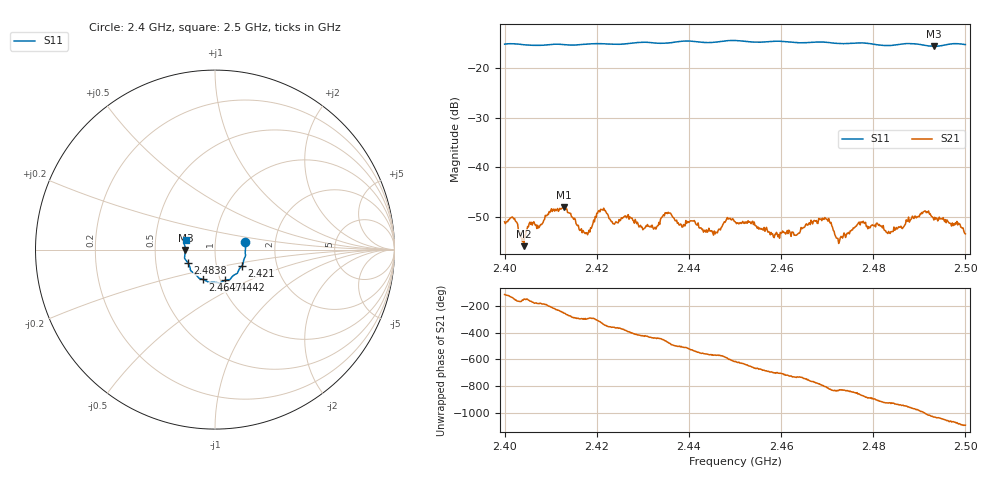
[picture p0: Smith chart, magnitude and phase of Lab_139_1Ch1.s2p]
# Hz S RI R 50
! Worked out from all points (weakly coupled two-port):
!   601 points, 2.4 GHz to 2.5 GHz, reference 50 ohm
!   highest |S21| = -47.95 dB at 2.4128 GHz (marker M1); lowest = -55.9 dB at 2.4042 GHz (marker M2)
!   lowest |S11| = -15.7 dB at 2.4932 GHz (marker M3), VSWR 1.40, Z = 35.8 - j0.117 ohm
!   |S11| at or under -10 dB: start of sweep to end of sweep
!   S12 and S22 are empty: the file has one direction only
!   S11 on the Smith chart (normalised r, x): 2.4 GHz: 1.40, +0.12; 2.421 GHz: 1.33, -0.24; 2.4442 GHz: 1.05, -0.37; 2.4647 GHz: 0.83, -0.28; 2.4838 GHz: 0.73, -0.11; 2.5 GHz: 0.71, +0.08
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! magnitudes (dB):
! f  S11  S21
! 2.4 GHz  -15.2  -51.0
! 2.402 GHz  -15.1  -50.4
! 2.4042 GHz  -15.3  -55.9
! 2.4128 GHz  -15.3  -48.0
! 2.4167 GHz  -15.3  -52.4
! 2.421 GHz  -15.1  -48.5
! 2.4235 GHz  -15.2  -51.3
! 2.4333 GHz  -15.0  -51.7
! 2.4355 GHz  -15.0  -49.0
! 2.4442 GHz  -14.9  -52.8
! 2.45 GHz  -14.5  -50.9
! 2.4582 GHz  -14.6  -53.4
! 2.4647 GHz  -14.9  -52.3
! 2.4667 GHz  -14.8  -50.9
! 2.47 GHz  -14.9  -50.5
! 2.4723 GHz  -15.1  -54.3
! 2.4773 GHz  -14.9  -51.0
! 2.4833 GHz  -15.5  -52.9
! 2.4838 GHz  -15.5  -52.9
! 2.4908 GHz  -15.4  -49.0
! 2.4932 GHz  -15.7  -50.6
! 2.5 GHz  -15.3  -53.4
